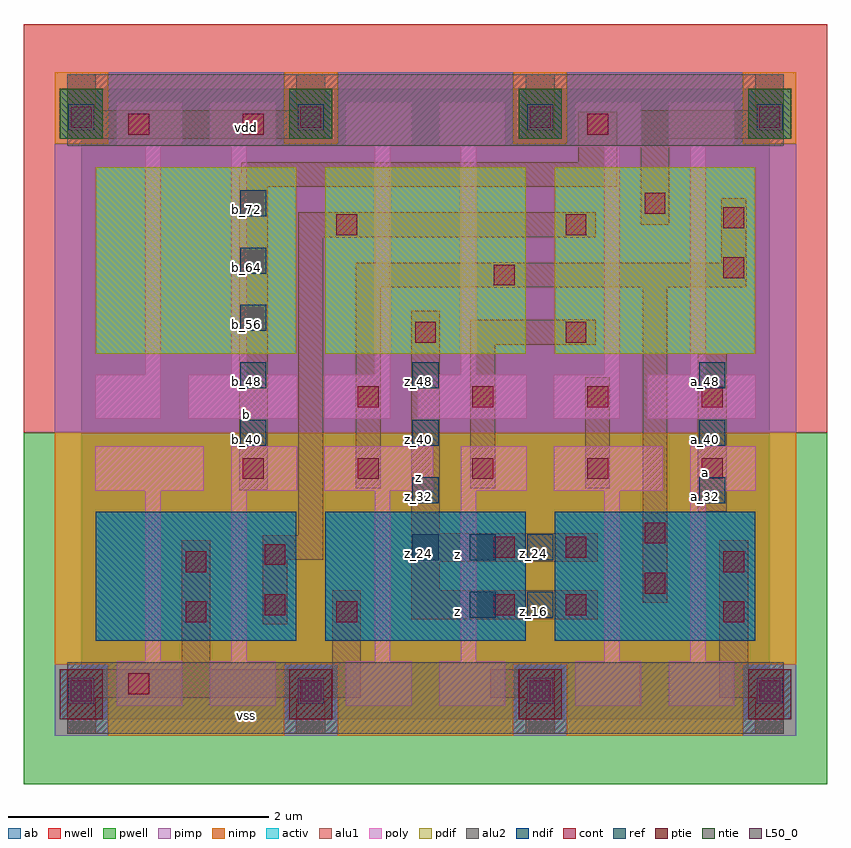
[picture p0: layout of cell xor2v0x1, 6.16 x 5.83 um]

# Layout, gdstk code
import gdstk
lib = gdstk.Library(unit=1e-6, precision=2.5e-09)
def R(c, l, rs):  # rectangles x0, y0, x1, y1
    for r in rs: c.add(gdstk.rectangle(r[:2], r[2:], *l))
def A(c, l, x, y, w, h, nx, ny, dx, dy):  # array of equal rectangles
    R(c, l, [(x+i*dx, y+j*dy, x+i*dx+w, y+j*dy+h) for i in range(nx) for j in range(ny)])
ndif = (3, 0)
pdif = (4, 0)
ntie = (5, 0)
ptie = (6, 0)
ref = (24, 0)
cont = (25, 0)
pwell = (41, 0)
nwell = (42, 0)
activ = (43, 0)
pimp = (44, 0)
nimp = (45, 0)
poly = (46, 0)
alu1 = (49, 0)
L50_0 = (50, 0)
alu2 = (51, 0)
ab = (63, 0)

xor2v0x1 = lib.new_cell('xor2v0x1')
A(xor2v0x1, ndif, 0.11, 0.605, 1.54, 0.99, 3, 1, 1.76, 0)
A(xor2v0x1, pdif, 0.11, 2.805, 1.54, 1.43, 3, 1, 1.76, 0)
A(xor2v0x1, ntie, -0.165, 4.455, 0.33, 0.385, 4, 1, 1.76, 0)
A(xor2v0x1, ptie, -0.165, 0, 0.33, 0.385, 4, 1, 1.76, 0)
A(xor2v0x1, ref, 2.54, 1.22, 0.2, 0.2, 3, 1, 0.44, 0)
A(xor2v0x1, ref, 2.54, 1.66, 0.2, 0.2, 1, 3, 0, 0.44)
A(xor2v0x1, ref, 4.74, 1.66, 0.2, 0.2, 1, 3, 0, 0.44)
A(xor2v0x1, ref, 1.22, 2.1, 0.2, 0.2, 1, 5, 0, 0.44)
R(xor2v0x1, ref, [(2.98,0.78,3.18,0.98), (3.42,0.78,3.62,0.98)])
A(xor2v0x1, cont, -0.08, 0.14, 0.16, 0.16, 4, 2, 1.76, 4.4)
A(xor2v0x1, cont, 1.24, 1.845, 0.16, 0.16, 5, 1, 0.88, 0)
A(xor2v0x1, cont, 2.12, 2.395, 0.16, 0.16, 4, 1, 0.88, 0)
R(xor2v0x1, cont, [(0.36,0.195,0.52,0.355), (0.8,0.745,0.96,0.905), (1.955,0.745,2.115,0.905), (4.925,0.745,5.085,0.905), (1.405,0.8,1.565,0.96), (3.165,0.8,3.325,0.96), (3.715,0.8,3.875,0.96), (4.32,0.965,4.48,1.125), (0.8,1.13,0.96,1.29), (4.925,1.13,5.085,1.29), (1.405,1.185,1.565,1.345), (3.165,1.24,3.325,1.4), (3.715,1.24,3.875,1.4), (4.32,1.35,4.48,1.51), (2.56,2.89,2.72,3.05), (3.715,2.89,3.875,3.05), (3.165,3.33,3.325,3.49), (4.925,3.385,5.085,3.545), (1.955,3.715,2.115,3.875), (3.715,3.715,3.875,3.875), (4.925,3.77,5.085,3.93), (4.32,3.88,4.48,4.04), (0.36,4.485,0.52,4.645), (1.24,4.485,1.4,4.645), (3.88,4.485,4.04,4.645)])
R(xor2v0x1, pwell, [(-0.44,-0.495,5.72,2.2)])
R(xor2v0x1, nwell, [(-0.44,2.2,5.72,5.335)])
A(xor2v0x1, activ, -0.165, 0, 0.33, 0.385, 4, 2, 1.76, 4.455)
A(xor2v0x1, activ, 0.11, 0.605, 1.54, 0.99, 3, 1, 1.76, 0)
A(xor2v0x1, activ, 0.11, 2.805, 1.54, 1.43, 3, 1, 1.76, 0)
A(xor2v0x1, pimp, -0.205, -0.125, 0.41, 0.55, 4, 1, 1.76, 0)
A(xor2v0x1, pimp, 0.205, 4.415, 1.35, 0.55, 3, 1, 1.76, 0)
R(xor2v0x1, pimp, [(-0.205,2.2,5.485,4.415)])
A(xor2v0x1, nimp, 0.205, -0.125, 1.35, 0.55, 3, 1, 1.76, 0)
A(xor2v0x1, nimp, -0.205, 4.415, 0.41, 0.55, 4, 1, 1.76, 0)
R(xor2v0x1, nimp, [(-0.205,0.425,5.485,2.2)])
A(xor2v0x1, poly, 0.105, 1.755, 0.835, 0.34, 3, 1, 1.76, 0)
A(xor2v0x1, poly, 1.15, 1.755, 0.505, 0.34, 3, 1, 1.76, 0)
A(xor2v0x1, poly, 0.105, 2.305, 0.505, 0.34, 3, 1, 1.76, 0)
A(xor2v0x1, poly, 0.82, 2.305, 0.835, 0.34, 3, 1, 1.76, 0)
R(xor2v0x1, poly, [(0.27,0.105,0.775,0.445), (0.985,0.105,1.49,0.445), (2.03,0.105,2.535,0.445), (2.745,0.105,3.25,0.445), (3.79,0.105,4.295,0.445), (4.505,0.105,5.01,0.445), (0.49,0.445,0.61,1.755), (1.15,0.445,1.27,1.755), (2.25,0.445,2.37,1.755), (2.91,0.445,3.03,1.755), (4.01,0.445,4.13,1.755), (4.67,0.445,4.79,1.755), (0.49,2.645,0.61,4.395), (1.15,2.645,1.27,4.395), (2.25,2.645,2.37,4.395), (2.91,2.645,3.03,4.395), (4.01,2.645,4.13,4.395), (4.67,2.645,4.79,4.395), (0.27,4.395,0.775,4.735), (0.985,4.395,1.49,4.735), (2.03,4.395,2.535,4.735), (2.745,4.395,3.25,4.735), (3.79,4.395,4.295,4.735), (4.505,4.395,5.01,4.735)])
A(xor2v0x1, alu1, -0.11, -0.11, 0.22, 0.275, 4, 1, 1.76, 0)
R(xor2v0x1, alu1, [(-0.11,0.165,2.145,0.385), (3.135,0.165,3.63,0.385), (4.895,0.165,5.39,0.385), (0.77,0.385,0.99,1.375), (1.925,0.385,2.145,0.99), (4.895,0.385,5.115,1.375), (1.39,0.73,1.58,1.225), (2.53,0.77,3.96,0.99), (4.305,0.895,4.495,3.315), (2.53,0.99,2.75,1.21), (2.53,1.21,3.96,1.43), (1.39,1.225,1.855,1.415), (1.665,1.415,1.855,3.7), (2.53,1.43,2.75,3.135), (4.73,1.595,4.95,2.805), (1.21,1.76,1.43,4.085), (2.105,1.775,2.295,3.315), (2.985,1.775,3.175,2.875), (3.865,1.775,4.055,2.625), (2.985,2.875,3.945,3.065), (2.105,3.315,5.1,3.505), (4.91,3.505,5.1,4), (1.665,3.7,3.945,3.89), (4.29,3.795,4.51,4.455), (1.21,4.085,4.11,4.18), (1.225,4.18,4.11,4.275), (3.81,4.275,4.11,4.66), (-0.11,4.455,1.87,4.675), (3.41,4.455,3.63,4.95), (4.29,4.455,5.39,4.675), (-0.11,4.675,0.11,4.95), (1.65,4.675,1.87,4.95), (5.17,4.675,5.39,4.95)])
A(xor2v0x1, L50_0, -0.1, 0.12, 0.2, 0.2, 4, 2, 1.76, 4.4)
R(xor2v0x1, alu2, [(-0.11,-0.11,5.39,0.44), (-0.11,4.4,5.39,4.95)])
R(xor2v0x1, ab, [(0,0,5.28,4.84)])
xor2v0x1.add(gdstk.Label('a', (4.785,1.8975), layer=49, texttype=0))
xor2v0x1.add(gdstk.Label('z', (2.8875,0.825), layer=49, texttype=0))
xor2v0x1.add(gdstk.Label('z', (2.8875,1.265), layer=49, texttype=0))
xor2v0x1.add(gdstk.Label('z', (2.585,1.855), layer=49, texttype=0))
xor2v0x1.add(gdstk.Label('b', (1.265,2.34), layer=49, texttype=0))
xor2v0x1.add(gdstk.Label('vss', (1.265,0.0275), layer=51, texttype=0))
xor2v0x1.add(gdstk.Label('vdd', (1.265,4.5375), layer=51, texttype=0))
xor2v0x1.add(gdstk.Label('b_40', (1.27,2.15), layer=24, texttype=0))
xor2v0x1.add(gdstk.Label('b_48', (1.27,2.59), layer=24, texttype=0))
xor2v0x1.add(gdstk.Label('b_56', (1.27,3.03), layer=24, texttype=0))
xor2v0x1.add(gdstk.Label('b_64', (1.27,3.47), layer=24, texttype=0))
xor2v0x1.add(gdstk.Label('b_72', (1.27,3.91), layer=24, texttype=0))
xor2v0x1.add(gdstk.Label('z_24', (2.59,1.27), layer=24, texttype=0))
xor2v0x1.add(gdstk.Label('z_24', (3.03,1.27), layer=24, texttype=0))
xor2v0x1.add(gdstk.Label('z_24', (3.47,1.27), layer=24, texttype=0))
xor2v0x1.add(gdstk.Label('z_32', (2.59,1.71), layer=24, texttype=0))
xor2v0x1.add(gdstk.Label('z_40', (2.59,2.15), layer=24, texttype=0))
xor2v0x1.add(gdstk.Label('z_48', (2.59,2.59), layer=24, texttype=0))
xor2v0x1.add(gdstk.Label('a_32', (4.79,1.71), layer=24, texttype=0))
xor2v0x1.add(gdstk.Label('a_40', (4.79,2.15), layer=24, texttype=0))
xor2v0x1.add(gdstk.Label('a_48', (4.79,2.59), layer=24, texttype=0))
xor2v0x1.add(gdstk.Label('z_16', (3.03,0.83), layer=24, texttype=0))
xor2v0x1.add(gdstk.Label('z_16', (3.47,0.83), layer=24, texttype=0))

lib.write_gds('xor2v0x1.gds')
